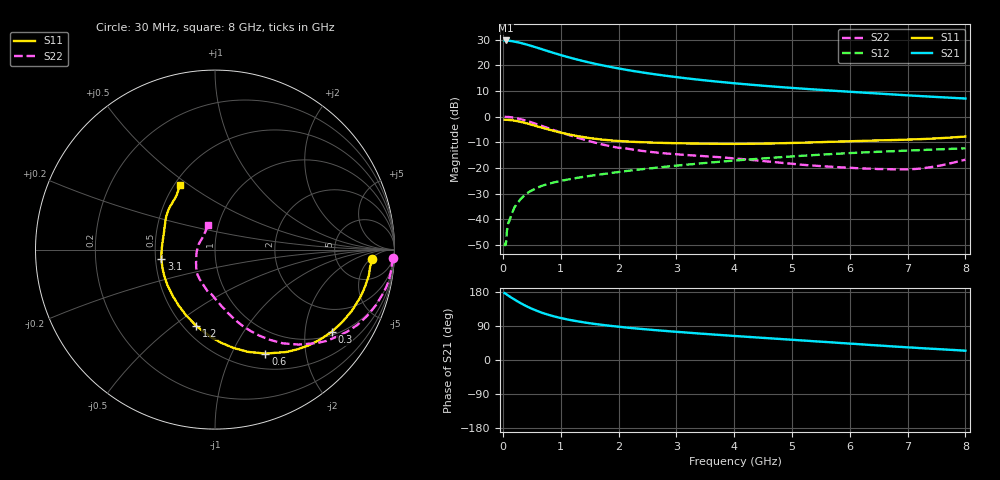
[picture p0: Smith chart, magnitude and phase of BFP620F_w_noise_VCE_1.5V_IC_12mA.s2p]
! Infineon Technologies  Discrete & RF Semiconductors
! BFP620F
! VCE =  1.5 V,  IC =  12 mA
! Common Emitter S-Parameters:  Dec 2014
# GHz  S  MA  R  50
!  f  S11  S21  S12  S22
! GHz  MAG  ANG  MAG  ANG  MAG  ANG  MAG  ANG
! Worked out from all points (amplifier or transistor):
!   95 points, 30 MHz to 8 GHz, reference 50 ohm
!   highest |S21| = 29.7 dB at 50 MHz (marker M1)
!   |S21| within 3 dB of that: start of sweep to 617.3 MHz
!   unconditionally stable (mu >= 1): 3.742 GHz to end of sweep
!   at 300 MHz: K = 0.18, MSG = 30.5 dB, |S12| = -32.3 dB
!   at 3.3 GHz: K = 0.98, MSG = 16.5 dB, |S12| = -18.5 dB
!   at 8 GHz: K = 1.08, MAG = 8.0 dB, |S12| = -12.4 dB
!   lowest NFmin = 0.64 dB at 450 MHz
!   S11 on the Smith chart (normalised r, x): 30 MHz: 12, -6; 300 MHz: 1.11, -2.75; 600 MHz: 0.69, -1.36; 1.2 GHz: 0.58, -0.61; 3.1 GHz: 0.54, -0.06; 8 GHz: 0.53, +0.46
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0.03  0.8742 -3.6  30.43 176.5  0.003 78.4  0.9908 -2.7
0.05  0.8697 -6.1  30.49 174.5  0.0032 89.3  0.9894 -4.8
0.09  0.8651 -11.1  30.29 170.4  0.0082 81.0  0.9851 -8.7
0.15  0.8516 -18.3  29.66 164.4  0.0125 80.3  0.9686 -14.5
0.25  0.8155 -29.8  28.23 155.0  0.0207 76.3  0.9244 -23.6
0.3  0.7951 -35.2  27.39 150.7  0.0242 72.7  0.8974 -27.9
0.4  0.7455 -45.8  25.62 142.5  0.0311 68.6  0.833 -35.7
0.45  0.7212 -50.4  24.63 138.8  0.034 66.6  0.8032 -39.3
0.6  0.6441 -64.1  21.89 129.0  0.0416 61.9  0.7044 -48.7
0.7  0.5992 -72.0  20.16 123.5  0.0459 59.6  0.6446 -54.1
0.9  0.5207 -86.1  17.13 114.5  0.0528 56.6  0.5388 -62.8
1  0.4894 -92.4  15.86 110.8  0.056 55.5  0.495 -66.4
1.2  0.4377 -103.8  13.72 104.5  0.0618 54.0  0.4194 -72.9
1.4  0.3995 -114.0  12.04 99.4  0.0674 53.2  0.3585 -78.6
1.6  0.371 -123.4  10.68 95.0  0.0728 52.6  0.3112 -84.2
1.9  0.3419 -135.6  9.117 89.5  0.0807 52.0  0.2592 -92.3
2.7  0.3098 -160.9  6.525 78.0  0.1026 50.0  0.1976 -111.7
3.1  0.3026 -170.4  5.712 73.3  0.1139 48.9  0.1815 -119.2
4.1  0.2954 170.0  4.373 62.4  0.1422 44.8  0.1504 -133.5
5.4  0.3165 151.2  3.378 49.3  0.179 37.9  0.111 -159.9
6.7  0.3489 134.6  2.727 36.3  0.2115 29.6  0.0945 158.3
8  0.4102 118.8  2.257 24.5  0.2412 21.4  0.145 105.4
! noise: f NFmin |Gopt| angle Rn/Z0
0.45  0.64  0.22  8  0.21
0.9  0.71  0.2  19  0.18
1.5  0.76  0.19  21  0.13
1.8  0.79  0.19  23  0.11
1.9  0.8  0.14  38  0.14
2.4  0.84  0.12  53  0.12
3.5  0.93  0.11  76  0.12
5.5  1.1  0.1  193  0.09
6  1.14  0.1  221  0.14
